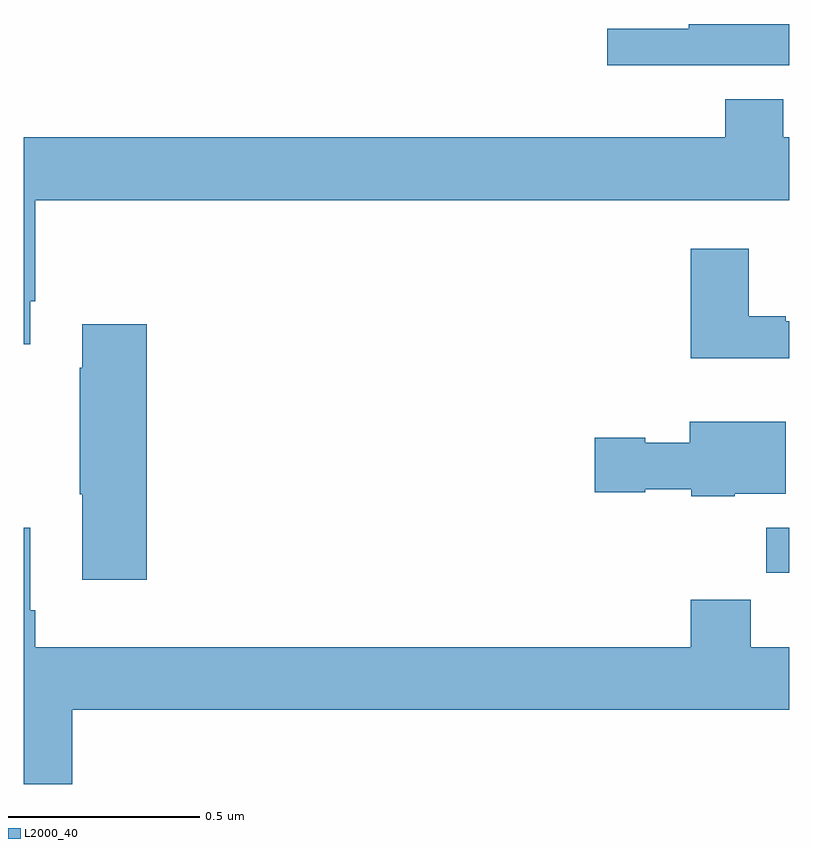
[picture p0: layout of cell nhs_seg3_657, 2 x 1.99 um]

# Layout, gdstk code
import gdstk
lib = gdstk.Library(unit=1e-6, precision=1e-09)
def R(c, l, rs):  # rectangles x0, y0, x1, y1
    for r in rs: c.add(gdstk.rectangle(r[:2], r[2:], *l))
def P(c, l, *ps):  # polygons
    for p in ps: c.add(gdstk.Polygon(p, *l))
L2000_40 = (2000, 40)

nhs_seg3_657 = lib.new_cell('nhs_seg3_657')
R(nhs_seg3_657, L2000_40, [(120.94,675.966,121,676.084)])
P(nhs_seg3_657, L2000_40, [(121,677.4),(120.738,677.4),(120.738,677.388),(120.525,677.388),(120.525,677.292),(121,677.292)],
  [(119.017,676.675),(119.03,676.675),(119.03,676.94),(121,676.94),(121,677.104),(120.985,677.104),(120.985,677.203),(120.833,677.203),(120.833,677.104),(119,677.104),(119,676.563),(119.017,676.563)],
  [(121,676.623),(120.991,676.623),(120.991,676.636),(120.895,676.636),(120.895,676.813),(120.743,676.813),(120.743,676.526),(121,676.526)],
  [(119.321,676.615),(119.153,676.615),(119.153,676.502),(119.146,676.502),(119.146,676.171),(119.153,676.171),(119.153,675.948),(119.321,675.948)],
  [(120.858,676.172),(120.991,676.172),(120.991,676.36),(120.74,676.36),(120.74,676.306),(120.624,676.306),(120.624,676.319),(120.492,676.319),(120.492,676.177),(120.624,676.177),(120.624,676.184),(120.744,676.184),(120.744,676.166),(120.858,676.166)],
  [(119.126,675.608),(121,675.608),(121,675.772),(120.899,675.772),(120.899,675.896),(120.743,675.896),(120.743,675.772),(119.03,675.772),(119.03,675.868),(119.017,675.868),(119.017,676.084),(119,676.084),(119,675.414),(119.126,675.414)])

lib.write_gds('nhs_seg3_657.gds')
